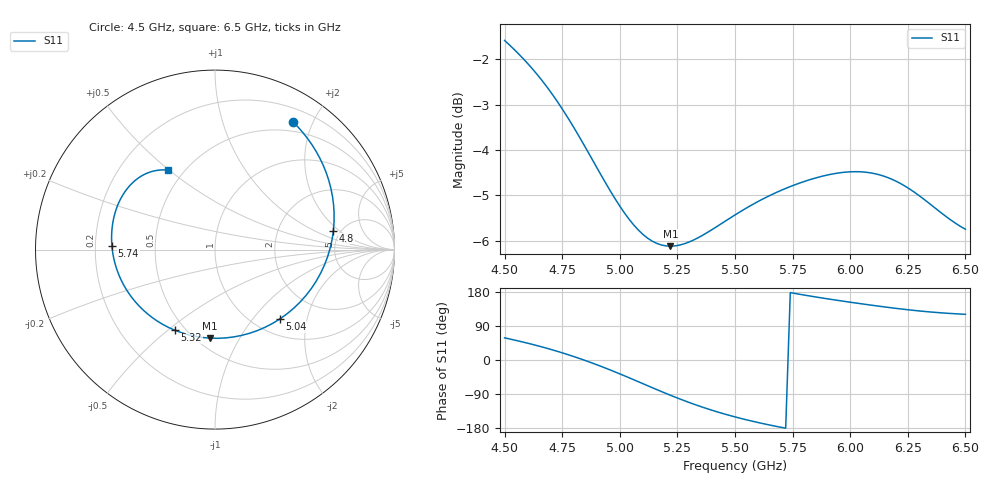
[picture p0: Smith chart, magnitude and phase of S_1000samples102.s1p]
! TOUCHSTONE file generated by CST MICROWAVE STUDIO
! Date and time: Thu Oct 27 00:13:15 2022
! Project name: L.cst
! Parameters = {Di=1.27; Epsilon_r=1.56; InnerDiameter=1.27; Length=2; Lf=10; Lg=60; OuterConductorThickness=0.2921; OuterDiameter=3.6; Wf=3; Wp=41.2; de=1.5; df=6.8; g=0.8; gx=3.6929; gy=0.794259; h=2.34; hf=1.524; px=13.4761; py=8.52827; w=9.7; wx=9.78316; wy=7.73401}
! Header version: 2018
! Port assignment regex: !\s*Touchstone port\s*([0-9]+)\s*=\s*(CST MWS port|CST DS port)\s*([0-9]+|Zmin|Zmax)\s*\(\"(.*)\"\)(\s*mode\s*([0-9]+))?.*
! Touchstone port assignment:
! Touchstone port 1 = CST MWS port 1 ("")
# GHz S DB R 50
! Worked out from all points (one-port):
!   101 points, 4.5 GHz to 6.5 GHz, reference 50 ohm
!   lowest |S11| = -6.1 dB at 5.22 GHz (marker M1), VSWR 2.95, Z = 29.1 - j38 ohm
!   |S11| at or under -10 dB: nowhere
!   S11 on the Smith chart (normalised r, x): 4.5 GHz: 0.37, +1.73; 4.8 GHz: 4.36, +1.67; 5.04 GHz: 1.30, -1.39; 5.32 GHz: 0.44, -0.53; 5.74 GHz: 0.27, +0.02; 6.5 GHz: 0.41, +0.50
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4.5  -1.58 58.4
4.58  -1.98 47.3
4.64  -2.33 38.1
4.7  -2.72 28.0
4.76  -3.17 17.0
4.8  -3.50 9.1
4.84  -3.85 0.8
4.9  -4.39 -12.5
4.94  -4.74 -21.9
5  -5.24 -36.6
5.04  -5.53 -46.8
5.12  -5.95 -67.6
5.16  -6.06 -78.0
5.22  -6.12 -93.1
5.26  -6.10 -102.7
5.32  -5.99 -116.2
5.42  -5.70 -136.3
5.5  -5.44 -150.1
5.56  -5.25 -159.3
5.62  -5.09 -167.7
5.74  -4.81 177.8
5.76  -4.77 175.6
5.88  -4.58 163.5
6  -4.48 152.5
6.14  -4.57 140.8
6.26  -4.87 132.0
6.38  -5.33 125.2
6.5  -5.75 120.5
